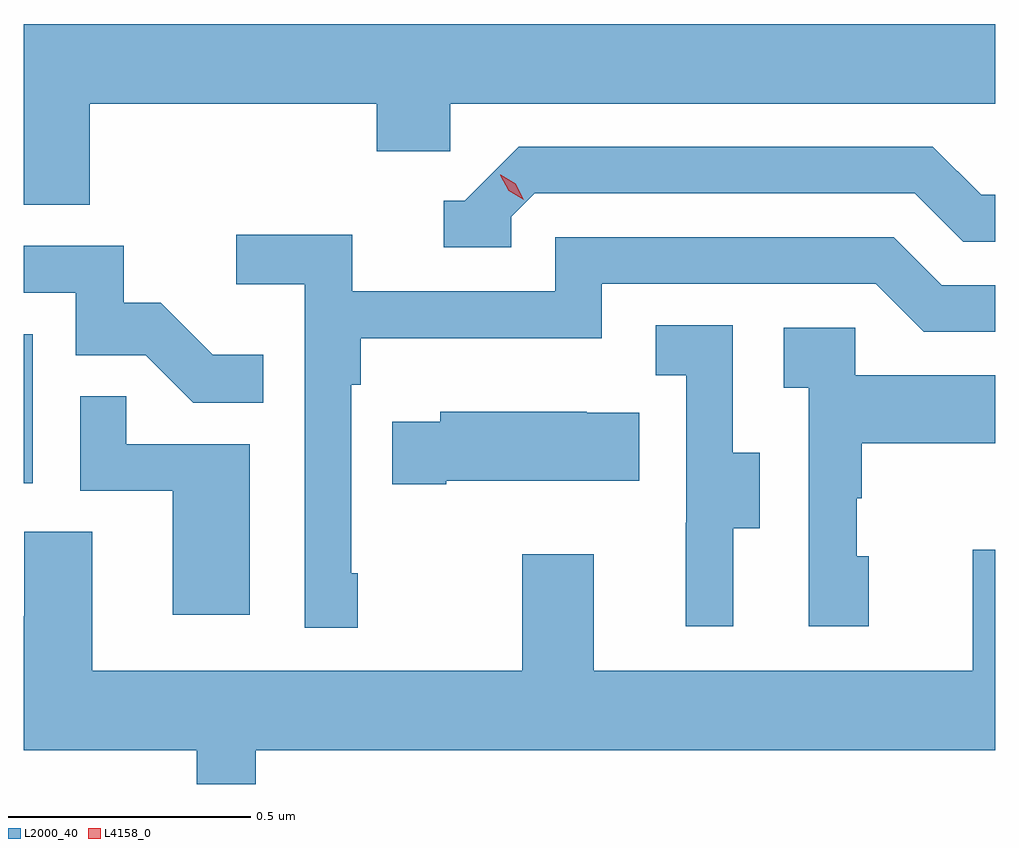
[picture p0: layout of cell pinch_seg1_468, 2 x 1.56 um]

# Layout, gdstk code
import gdstk
lib = gdstk.Library(unit=1e-6, precision=1e-09)
def R(c, l, rs):  # rectangles x0, y0, x1, y1
    for r in rs: c.add(gdstk.rectangle(r[:2], r[2:], *l))
def P(c, l, *ps):  # polygons
    for p in ps: c.add(gdstk.Polygon(p, *l))
L2000_40 = (2000, 40)
L4158_0 = (4158, 0)

pinch_seg1_468 = lib.new_cell('pinch_seg1_468')
R(pinch_seg1_468, L2000_40, [(994.858,508.326,994.876,508.633)])
P(pinch_seg1_468, L2000_40, [(994.994,509.108),(995.585,509.108),(995.585,509.01),(995.736,509.01),(995.736,509.108),(996.858,509.108),(996.858,509.272),(994.858,509.272),(994.858,508.9),(994.994,508.9)],
  [(995.862,508.875),(995.91,508.923),(996.693,508.923),(996.792,508.824),(996.858,508.824),(996.858,508.92),(996.829,508.92),(996.73,509.019),(995.877,509.019),(995.766,508.908),(995.723,508.908),(995.723,508.812),(995.862,508.812)],
  [(995.545,508.141),(995.532,508.141),(995.532,508.529),(995.552,508.529),(995.552,508.625),(996.048,508.625),(996.048,508.737),(996.612,508.737),(996.711,508.638),(996.858,508.638),(996.858,508.734),(996.748,508.734),(996.649,508.833),(995.952,508.833),(995.952,508.722),(995.534,508.722),(995.534,508.838),(995.295,508.838),(995.295,508.736),(995.436,508.736),(995.436,508.029),(995.545,508.029)],
  [(995.351,508.591),(995.247,508.591),(995.14,508.698),(995.064,508.698),(995.064,508.815),(994.858,508.815),(994.858,508.719),(994.965,508.719),(994.965,508.59),(995.109,508.59),(995.207,508.492),(995.351,508.492)],
  [(996.319,508.234),(996.373,508.234),(996.373,508.389),(996.318,508.389),(996.318,508.652),(996.159,508.652),(996.159,508.549),(996.222,508.549),(996.222,508.245),(996.221,508.245),(996.221,508.032),(996.319,508.032)],
  [(996.598,508.176),(996.573,508.176),(996.573,508.295),(996.583,508.295),(996.583,508.409),(996.858,508.409),(996.858,508.549),(996.57,508.549),(996.57,508.647),(996.423,508.647),(996.423,508.523),(996.474,508.523),(996.474,508.032),(996.598,508.032)],
  [(995.323,508.407),(995.069,508.407),(995.069,508.505),(994.974,508.505),(994.974,508.311),(995.165,508.311),(995.165,508.056),(995.323,508.056)],
  [(995.728,508.331),(996.125,508.331),(996.125,508.471),(996.017,508.471),(996.017,508.474),(995.715,508.474),(995.715,508.453),(995.617,508.453),(995.617,508.324),(995.728,508.324)],
  [(995.335,507.776),(996.858,507.776),(996.858,508.189),(996.812,508.189),(996.812,507.94),(996.031,507.94),(996.031,508.18),(995.884,508.18),(995.884,507.94),(994.999,507.94),(994.999,508.226),(994.859,508.226),(994.859,508.052),(994.858,508.052),(994.858,507.776),(995.214,507.776),(995.214,507.707),(995.335,507.707)])
P(pinch_seg1_468, L4158_0, [(995.887,508.91),(995.856,508.929),(995.839,508.961),(995.839,508.962),(995.84,508.962),(995.871,508.943),(995.887,508.91),(995.887,508.91)])

lib.write_gds('pinch_seg1_468.gds')
